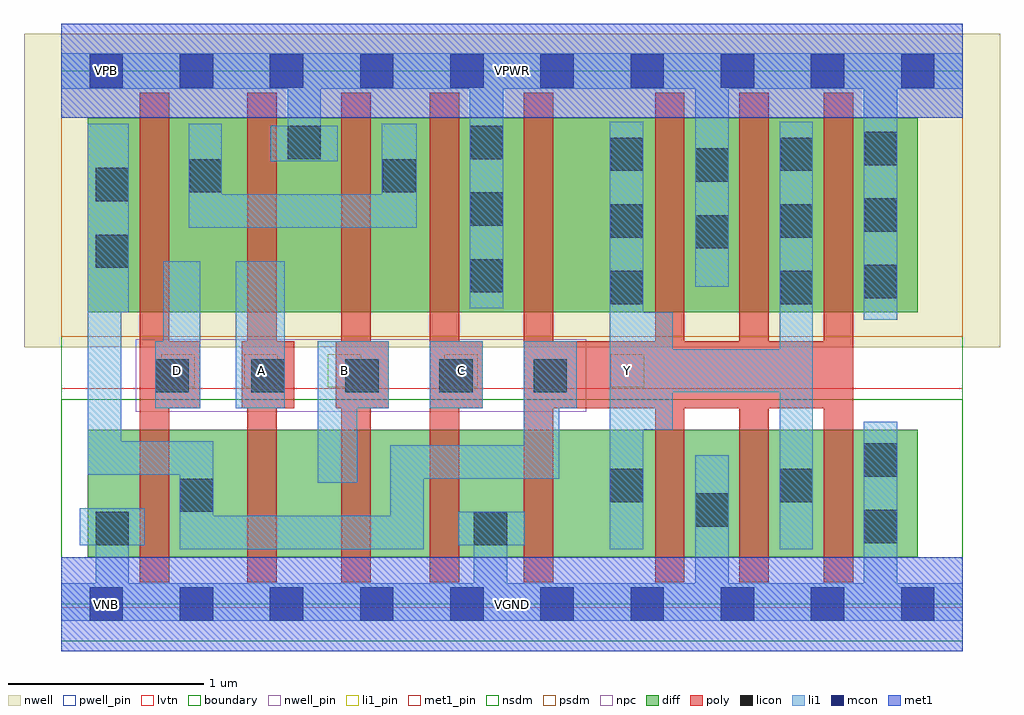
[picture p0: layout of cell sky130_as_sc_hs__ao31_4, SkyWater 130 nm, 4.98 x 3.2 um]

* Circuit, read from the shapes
.subckt sky130_as_sc_hs__ao31_4 A B C D VGND VNB VPB VPWR Y
XM1 n1 D VGND VNB sky130_fd_pr__nfet_01v8_lvt w=0.65 l=0.15
XM2 n2 A n1 VNB sky130_fd_pr__nfet_01v8_lvt w=0.65 l=0.15
XM3 n3 B n2 VNB sky130_fd_pr__nfet_01v8_lvt w=0.65 l=0.15
XM4 VGND C n3 VNB sky130_fd_pr__nfet_01v8_lvt w=0.65 l=0.15
XM5 Y n1 VGND VNB sky130_fd_pr__nfet_01v8_lvt w=0.65 l=0.15 m=4
XM6 n4 D n1 VPB sky130_fd_pr__pfet_01v8 w=0.99 l=0.15
XM7 VPWR A n4 VPB sky130_fd_pr__pfet_01v8 w=0.99 l=0.15
XM8 n4 B VPWR VPB sky130_fd_pr__pfet_01v8 w=0.99 l=0.15
XM9 VPWR C n4 VPB sky130_fd_pr__pfet_01v8 w=0.99 l=0.15
XM10 Y n1 VPWR VPB sky130_fd_pr__pfet_01v8 w=0.99 l=0.15 m=4
.ends

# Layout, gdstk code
import gdstk
lib = gdstk.Library(unit=1e-6, precision=1e-09)
def R(c, l, rs):  # rectangles x0, y0, x1, y1
    for r in rs: c.add(gdstk.rectangle(r[:2], r[2:], *l))
def A(c, l, x, y, w, h, nx, ny, dx, dy):  # array of equal rectangles
    R(c, l, [(x+i*dx, y+j*dy, x+i*dx+w, y+j*dy+h) for i in range(nx) for j in range(ny)])
nwell_pin = (64, 16)
nwell = (64, 20)
diff = (65, 20)
poly = (66, 20)
licon = (66, 44)
li1_pin = (67, 16)
li1 = (67, 20)
mcon = (67, 44)
met1_pin = (68, 16)
met1 = (68, 20)
nsdm = (93, 44)
psdm = (94, 20)
npc = (95, 20)
pwell_pin = (122, 16)
lvtn = (125, 44)
boundary = (235, 4)

sky130_as_sc_hs__ao31_4 = lib.new_cell('sky130_as_sc_hs__ao31_4')
R(sky130_as_sc_hs__ao31_4, nwell_pin, [(0.145,2.635,0.315,2.805)])
R(sky130_as_sc_hs__ao31_4, nwell, [(-0.19,1.31,4.79,2.91)])
R(sky130_as_sc_hs__ao31_4, diff, [(0.135,0.24,4.37,0.89), (0.135,1.49,4.37,2.48)])
A(sky130_as_sc_hs__ao31_4, poly, 3.03, 0.11, 0.15, 0.89, 3, 1, 0.43, 0)
A(sky130_as_sc_hs__ao31_4, poly, 0.92, 1, 0.27, 0.34, 3, 1, 0.48, 0)
A(sky130_as_sc_hs__ao31_4, poly, 3.03, 1.34, 0.15, 1.27, 3, 1, 0.43, 0)
R(sky130_as_sc_hs__ao31_4, poly, [(0.4,0.11,0.55,1), (0.95,0.11,1.1,1), (1.43,0.11,1.58,1), (1.88,0.11,2.03,1), (2.36,0.11,2.51,1), (0.4,1,0.71,1.34), (2.36,1,4.04,1.34), (0.4,1.34,0.55,2.61), (0.95,1.34,1.1,2.61), (1.43,1.34,1.58,2.61), (1.88,1.34,2.03,2.61), (2.36,1.34,2.51,2.61)])
A(sky130_as_sc_hs__ao31_4, licon, 0.97, 1.08, 0.17, 0.17, 4, 1, 0.48, 0)
A(sky130_as_sc_hs__ao31_4, licon, 2.8, 1.53, 0.17, 0.17, 1, 3, 0, 0.34)
A(sky130_as_sc_hs__ao31_4, licon, 3.665, 1.53, 0.17, 0.17, 1, 3, 0, 0.34)
A(sky130_as_sc_hs__ao31_4, licon, 4.095, 1.56, 0.17, 0.17, 1, 3, 0, 0.34)
A(sky130_as_sc_hs__ao31_4, licon, 2.085, 1.59, 0.17, 0.17, 1, 3, 0, 0.34)
R(sky130_as_sc_hs__ao31_4, licon, [(0.175,0.3,0.345,0.47), (2.105,0.3,2.275,0.47), (4.095,0.31,4.265,0.48), (3.235,0.395,3.405,0.565), (0.605,0.47,0.775,0.64), (2.8,0.52,2.97,0.69), (3.665,0.52,3.835,0.69), (4.095,0.65,4.265,0.82), (0.48,1.08,0.65,1.25), (0.175,1.715,0.345,1.885), (3.235,1.815,3.405,1.985), (0.175,2.055,0.345,2.225), (0.65,2.1,0.82,2.27), (1.64,2.1,1.81,2.27), (3.235,2.155,3.405,2.325), (1.155,2.27,1.325,2.44)])
A(sky130_as_sc_hs__ao31_4, li1_pin, 0.51, 1.105, 0.17, 0.17, 3, 1, 0.425, 0)
R(sky130_as_sc_hs__ao31_4, li1_pin, [(1.955,1.105,2.125,1.275), (2.805,1.105,2.975,1.275)])
R(sky130_as_sc_hs__ao31_4, li1, [(0,-0.085,4.6,0.105), (0.175,0.105,0.345,0.3), (2.105,0.105,2.275,0.3), (3.235,0.105,3.405,0.76), (4.095,0.105,4.265,0.93), (0.605,0.28,1.85,0.45), (2.8,0.28,2.97,0.89), (3.665,0.28,3.835,1.08), (0.095,0.3,0.425,0.49), (2.025,0.3,2.365,0.47), (0.605,0.45,0.775,0.66), (1.68,0.45,1.85,0.64), (1.31,0.62,1.51,1), (1.68,0.64,2.54,0.81), (0.135,0.66,0.775,0.83), (2.36,0.81,2.54,1), (0.135,0.83,0.305,1.49), (2.8,0.89,3.12,1.08), (0.48,1,0.71,1.34), (0.89,1,1.14,1.75), (1.31,1,1.67,1.34), (1.88,1,2.15,1.34), (2.36,1,2.63,1.34), (2.8,1.08,3.835,1.3), (2.8,1.3,3.12,1.49), (3.665,1.3,3.835,2.46), (0.52,1.34,0.71,1.75), (4.095,1.45,4.265,2.63), (0.135,1.49,0.345,2.45), (2.8,1.49,2.97,2.46), (2.085,1.51,2.255,2.63), (3.235,1.62,3.405,2.63), (0.65,1.92,1.815,2.09), (0.65,2.09,0.82,2.45), (1.635,2.09,1.815,2.45), (1.07,2.26,1.41,2.44), (1.155,2.44,1.325,2.63), (0,2.63,4.6,2.81)])
A(sky130_as_sc_hs__ao31_4, mcon, 0.145, -0.085, 0.17, 0.17, 10, 2, 0.46, 2.72)
R(sky130_as_sc_hs__ao31_4, met1_pin, [(0,-0.24,4.6,0.24), (0.145,-0.085,0.315,0.085), (0,2.48,4.6,2.96), (0.145,2.635,0.315,2.805)])
R(sky130_as_sc_hs__ao31_4, met1, [(0,-0.24,4.6,0.24), (0,2.48,4.6,2.96)])
R(sky130_as_sc_hs__ao31_4, nsdm, [(0,-0.19,4.6,1.045)])
R(sky130_as_sc_hs__ao31_4, psdm, [(0,1.365,4.6,2.91)])
R(sky130_as_sc_hs__ao31_4, npc, [(0.38,0.98,2.68,1.35)])
R(sky130_as_sc_hs__ao31_4, pwell_pin, [(0.145,-0.085,0.315,0.085)])
R(sky130_as_sc_hs__ao31_4, lvtn, [(0,-0.02,4.6,1.1)])
R(sky130_as_sc_hs__ao31_4, boundary, [(0,0,4.6,2.72)])
sky130_as_sc_hs__ao31_4.add(gdstk.Label('VNB', (0.23,0), layer=64, texttype=59))
sky130_as_sc_hs__ao31_4.add(gdstk.Label('VPB', (0.23,2.72), layer=64, texttype=5))
sky130_as_sc_hs__ao31_4.add(gdstk.Label('A', (1.02,1.19), layer=67, texttype=5))
sky130_as_sc_hs__ao31_4.add(gdstk.Label('B', (1.445,1.19), layer=67, texttype=5))
sky130_as_sc_hs__ao31_4.add(gdstk.Label('C', (2.04,1.19), layer=67, texttype=5))
sky130_as_sc_hs__ao31_4.add(gdstk.Label('D', (0.595,1.19), layer=67, texttype=5))
sky130_as_sc_hs__ao31_4.add(gdstk.Label('Y', (2.89,1.19), layer=67, texttype=5))
sky130_as_sc_hs__ao31_4.add(gdstk.Label('VNB', (0.23,0), layer=64, texttype=59))
sky130_as_sc_hs__ao31_4.add(gdstk.Label('VPB', (0.23,2.72), layer=64, texttype=5))
sky130_as_sc_hs__ao31_4.add(gdstk.Label('VPWR', (2.3,2.72), layer=68, texttype=5))
sky130_as_sc_hs__ao31_4.add(gdstk.Label('VPWR', (0.23,2.72), layer=68, texttype=5))
sky130_as_sc_hs__ao31_4.add(gdstk.Label('VGND', (2.3,0), layer=68, texttype=5))
sky130_as_sc_hs__ao31_4.add(gdstk.Label('VGND', (0.23,0), layer=68, texttype=5))
sky130_as_sc_hs__ao31_4.add(gdstk.Label('A', (1.02,1.19), layer=67, texttype=5))
sky130_as_sc_hs__ao31_4.add(gdstk.Label('B', (1.445,1.19), layer=67, texttype=5))
sky130_as_sc_hs__ao31_4.add(gdstk.Label('C', (2.04,1.19), layer=67, texttype=5))
sky130_as_sc_hs__ao31_4.add(gdstk.Label('D', (0.595,1.19), layer=67, texttype=5))
sky130_as_sc_hs__ao31_4.add(gdstk.Label('Y', (2.89,1.19), layer=67, texttype=5))

lib.write_gds('sky130_as_sc_hs__ao31_4.gds')
